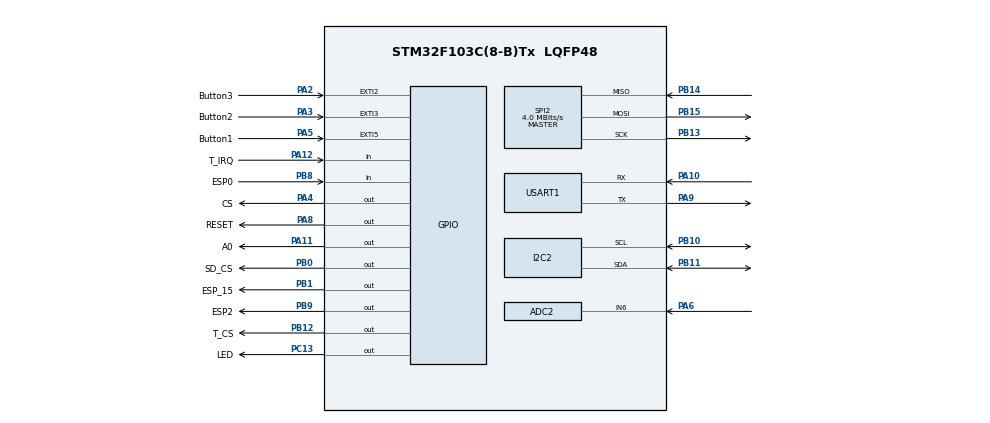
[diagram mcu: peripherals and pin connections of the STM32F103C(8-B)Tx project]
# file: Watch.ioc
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ADC2.Channel-0\#ChannelRegularConversion=ADC_CHANNEL_6
ADC2.NbrOfConversionFlag=1
ADC2.Rank-0\#ChannelRegularConversion=1
ADC2.SamplingTime-0\#ChannelRegularConversion=ADC_SAMPLETIME_1CYCLE_5
Mcu.Family=STM32F1
Mcu.Name=STM32F103C(8-B)Tx
Mcu.Package=LQFP48
NVIC.EXTI3_IRQn=true\:0\:0\:false\:false\:true\:true\:true\:true
NVIC.I2C2_ER_IRQn=true\:0\:0\:false\:false\:true\:true\:true\:true
NVIC.I2C2_EV_IRQn=true\:0\:0\:false\:false\:true\:true\:true\:true
NVIC.PriorityGroup=NVIC_PRIORITYGROUP_4
NVIC.TIM1_BRK_IRQn=true\:0\:0\:false\:false\:true\:true\:true\:true
NVIC.TIM1_CC_IRQn=true\:0\:0\:false\:false\:true\:true\:true\:true
NVIC.TIM1_TRG_COM_IRQn=true\:0\:0\:false\:false\:true\:true\:true\:true
NVIC.TIM1_UP_IRQn=true\:0\:0\:false\:false\:true\:true\:true\:true
NVIC.TIM2_IRQn=true\:0\:0\:false\:false\:true\:true\:true\:true
PA10.Mode=Asynchronous
PA10.Signal=USART1_RX
PA11.GPIO_Label=A0
PA11.Signal=GPIO_Output
PA12.GPIO_Label=T_IRQ
PA12.GPIO_PuPd=GPIO_NOPULL
PA12.Signal=GPIO_Input
PA13.Mode=Serial_Wire
PA13.Signal=SYS_JTMS-SWDIO
PA14.Mode=Serial_Wire
PA14.Signal=SYS_JTCK-SWCLK
PA2.GPIO_Label=Button3
PA2.Signal=GPXTI2
PA3.GPIO_Label=Button2
PA3.GPIO_ModeDefaultEXTI=GPIO_MODE_IT_FALLING
PA3.GPIO_PuPd=GPIO_PULLUP
PA3.Signal=GPXTI3
PA4.GPIO_Label=CS
PA4.Signal=GPIO_Output
PA5.GPIO_Label=Button1
PA5.GPIO_ModeDefaultEXTI=GPIO_MODE_IT_FALLING
PA5.GPIO_PuPd=GPIO_PULLUP
PA5.Signal=GPXTI5
PA6.Signal=ADCx_IN6
PA8.GPIO_Label=RESET
PA8.Signal=GPIO_Output
PA9.Mode=Asynchronous
PA9.Signal=USART1_TX
PB0.GPIO_Label=SD_CS
PB0.Signal=GPIO_Output
PB1.GPIO_Label=ESP_15
PB1.Signal=GPIO_Output
PB10.Mode=I2C
PB10.Signal=I2C2_SCL
PB11.Mode=I2C
PB11.Signal=I2C2_SDA
PB12.GPIO_Label=T_CS
PB12.Signal=GPIO_Output
PB13.Mode=Full_Duplex_Master
PB13.Signal=SPI2_SCK
PB14.Mode=Full_Duplex_Master
PB14.Signal=SPI2_MISO
PB15.Mode=Full_Duplex_Master
PB15.Signal=SPI2_MOSI
PB8.GPIO_Label=ESP0
PB8.Signal=GPIO_Input
PB9.GPIO_Label=ESP2
PB9.Signal=GPIO_Output
PC13-TAMPER-RTC.GPIO_Label=LED
PC13-TAMPER-RTC.Signal=GPIO_Output
ProjectManager.HeapSize=0x200
ProjectManager.StackSize=0x400
ProjectManager.TargetToolchain=STM32CubeIDE
RCC.APB1Freq_Value=8000000
RCC.APB2Freq_Value=8000000
RCC.HSE_VALUE=10000000
RCC.USBFreq_Value=8000000
RTC.Date=22
RTC.Month=RTC_MONTH_SEPTEMBER
RTC.WeekDay=RTC_WEEKDAY_FRIDAY
RTC.Year=23
SH.ADCx_IN6.0=ADC2_IN6,IN6
SPI2.CalculateBaudRate=4.0 MBits/s
SPI2.Direction=SPI_DIRECTION_2LINES
SPI2.Mode=SPI_MODE_MASTER
SPI2.VirtualType=VM_MASTER
TIM1.Period=100
TIM1.Prescaler=7999
TIM1.TIM_MasterOutputTrigger=TIM_TRGO_RESET
TIM2.Period=100
TIM2.Prescaler=7999
USART1.VirtualMode=VM_ASYNC
VP_RTC_VS_RTC_Activate.Mode=RTC_Enabled
VP_RTC_VS_RTC_Calendar.Mode=RTC_Calendar
VP_TIM1_VS_ClockSourceINT.Mode=Internal
VP_TIM2_VS_ClockSourceINT.Mode=Internal
board=custom

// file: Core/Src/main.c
/* USER CODE BEGIN Header */
/**
  ******************************************************************************
  * @file           : main.c
  * @brief          : Main program body
  ******************************************************************************
  * @attention
  *
  * Copyright (c) 2023 STMicroelectronics.
  * All rights reserved.
  *
  * This software is licensed under terms that can be found in the LICENSE file
  * in the root directory of this software component.
  * If no LICENSE file comes with this software, it is provided AS-IS.
  *
  ******************************************************************************
  */
/* USER CODE END Header */
#include "main.h"

/* USER CODE BEGIN Includes */
#include "st7735.h"
#include "display.h"
#include "fonts.h"
#include <stdio.h>
#include "touch.h"
#include "image.h"
#include <inttypes.h>
/* USER CODE END Includes */

/* USER CODE BEGIN PTD */

struct global gl;
int iteration = 0;
int last_beat = 0;
int delays[20];
int pressed_left = 0;
int pressed_right = 0;
int menu_context = 0;
int selected_item = 1;

char *get_week_day(int day) {
	enum WEEKDAY {SUNDAY, MONDAY, TUESDAY, WEDNESDAY, THURSDAY, FRIDAY, SATURDAY};

	switch(day) {
		case MONDAY:
			return "Mon";
			break;
		case TUESDAY:
			return "Tue";
			break;
		case WEDNESDAY:
			return "Wed";
			break;
		case THURSDAY:
			return "Thu";
			break;
		case FRIDAY:
			return "Fri";
			break;
		case SATURDAY:
			return "Sat";
			break;
		case SUNDAY:
			return "Sun";
			break;
		default:
			return "Non";
			break;
	}
}

void init_globals() {
	  gl.leg_start_x = ILI9341_WIDTH / 2;
	  gl.leg_start_y = ILI9341_HEIGHT / 2 + 30;
	  gl.leg_width = 5;
	  gl.leg_length = 10;
	  gl.body_length = 10;
	  gl.hand_width = 5;
	  gl.hand_length = 10;
	  gl.neck_length = 5;
	  gl.head_radius = 7;
	  gl.hat_height   = 5;
	  gl.hat_width   = 7;
	  gl.skateboard_len = 30;
	  gl.skateboard_height = 5;
	  gl.skateboard_offset = 5;
	  gl.wheel_radius = 5;
	  gl.sword_width_distance_top = 4;
	  gl.sword_height_distance_top = 12;
	  gl.sword_width_distance_bottom = 5;
	  gl.sword_height_distance_bottom = 5;
	  gl.sword_line_width = 7;
	  gl.sword_line_height = 20;
	  gl.left_triangle_x = 10;
	  gl.left_triangle_y = 40;
	  gl.right_triangle_x = 50;
	  gl.right_triangle_y = 40;
	  gl.top_triangle_x = 30;
	  gl.top_triangle_y = 20;
	  gl.bottom_triangle_x = 30;
	  gl.bottom_triangle_y = 50;
	  gl.theme_color = ILI9341_BLACK;
	  gl.item_color = ILI9341_WHITE;
	  gl.sword_color = ILI9341_RED;
	  gl.start_plane_x = 20;
	  gl.start_plane_y = 30;
}
/*
void max30102_plot(uint32_t ir_sample, uint32_t red_sample)
{
	char ir_sample_char[6];
	char red_sample_char[6];
	char it_char[6];
	int delay = HAL_GetTick() - last_beat;
	delays[iteration] = delay;
	last_beat = HAL_GetTick();
	sprintf(ir_sample_char, "ir : %d", ir_sample);
	sprintf(red_sample_char, "rd : %d", red_sample);
	sprintf(it_char, "it : %02d", iteration);
	ILI9341_WriteString(0, 10, ir_sample_char, Font_11x18, ILI9341_WHITE, ILI9341_BLACK);
	ILI9341_WriteString(0, 30, red_sample_char, Font_11x18, ILI9341_WHITE, ILI9341_BLACK);
	ILI9341_WriteString(0, 50, it_char, Font_11x18, ILI9341_WHITE, ILI9341_BLACK);
	iteration++;
}
*/
/* USER CODE END PTD */

ADC_HandleTypeDef hadc2;

I2C_HandleTypeDef hi2c2;

RTC_HandleTypeDef hrtc;

SPI_HandleTypeDef hspi2;

TIM_HandleTypeDef htim1;
TIM_HandleTypeDef htim2;

UART_HandleTypeDef huart1;

void SystemClock_Config(void);
static void MX_GPIO_Init(void);
static void MX_RTC_Init(void);
static void MX_TIM2_Init(void);
static void MX_TIM1_Init(void);
static void MX_SPI2_Init(void);
static void MX_I2C2_Init(void);
static void MX_USART1_UART_Init(void);
static void MX_ADC2_Init(void);

/* USER CODE BEGIN 0 */
char time[30] = {0};
char date[30] = {0};

void HAL_TIM_PeriodElapsedCallback(TIM_HandleTypeDef *htim)
{
	char *dat;
	RTC_TimeTypeDef sTime = {0};
	RTC_DateTypeDef sDate = {0};
	enum WEEKDAY {MONDAY = 1, TUESDAY, WEDNESDAY, THURSDAY, FRIDAY, SATURDAY, SUNDAY};

	if (htim->Instance == TIM2) {
		HAL_RTC_GetTime(&hrtc, &sTime, RTC_FORMAT_BIN);
		HAL_RTC_GetDate(&hrtc, &sDate, RTC_FORMAT_BIN);
		dat = get_week_day(sDate.WeekDay);
		sprintf(date, "%s %02d/%02d/%02d", dat, sDate.Date, sDate.Month, sDate.Year);
		sprintf(time, "%02d:%02d:%02d", sTime.Hours, sTime.Minutes, sTime.Seconds);
		display_date_and_time();
	} else if (htim->Instance == TIM1) {
		display_battery_status(menu_context);
	}
}

void init() {
    ILI9341_Unselect();
    ILI9341_Init();
}

/* USER CODE END 0 */

int main(void)
{
  /* USER CODE BEGIN 1 */
  init_globals();
  /* USER CODE END 1 */

  /* MCU Configuration--------------------------------------------------------*/

  /* Reset of all peripherals, Initializes the Flash interface and the Systick. */
  HAL_Init();

  /* Configure the system clock */
  SystemClock_Config();

  /* Initialize all configured peripherals */
  MX_GPIO_Init();
  MX_RTC_Init();
  MX_TIM2_Init();
  MX_TIM1_Init();
  MX_SPI2_Init();
  MX_I2C2_Init();
  MX_USART1_UART_Init();
  MX_ADC2_Init();
  /* USER CODE BEGIN 2 */
  init();
  display_start_page();
  display_ateist_man();
//  display_ground(gl.item_color, 1);
//  display_sword(gl.item_color, gl.sword_color, 1);
//  display_move_plane();
//  display_star(gl.item_color, 1);
  HAL_TIM_Base_Start_IT(&htim2);
  HAL_TIM_Base_Start_IT(&htim1);

//  HAL_GPIO_WritePin(ESP_15_GPIO_Port, ESP_15_Pin, 0);
//  HAL_GPIO_WritePin(ESP2_GPIO_Port, ESP2_Pin, 0);
//  HAL_GPIO_WritePin(ESP0_GPIO_Port, ESP0_Pin, 0);
//  HAL_Delay(1000);
//  HAL_GPIO_WritePin(ESP0_GPIO_Port, ESP0_Pin, 1);

  /* USER CODE END 2 */

  /* Infinite loop */
  /* USER CODE BEGIN WHILE */
  while (1)
  {
	  HAL_GPIO_WritePin(GPIOC, GPIO_PIN_13, 1);
	  HAL_Delay(1000);
	  HAL_GPIO_WritePin(GPIOC, GPIO_PIN_13, 0);
	  HAL_Delay(1000);
//	  HAL_UART_Transmit(&huart1, (uint8_t *)msg, strlen(msg), 1);
//	  HAL_UART_Receive(&huart1, (uint8_t *)msg2, 2, 1);
//	  ILI9341_WriteString(20, 20, msg2, Font_11x18, ILI9341_WHITE, ILI9341_BLACK);
    /* USER CODE END WHILE */

  }
}

void SystemClock_Config(void)
{
  RCC_OscInitTypeDef RCC_OscInitStruct = {0};
  RCC_ClkInitTypeDef RCC_ClkInitStruct = {0};
  RCC_PeriphCLKInitTypeDef PeriphClkInit = {0};

  /** Initializes the RCC Oscillators according to the specified parameters
  * in the RCC_OscInitTypeDef structure.
  */
  RCC_OscInitStruct.OscillatorType = RCC_OSCILLATORTYPE_HSI|RCC_OSCILLATORTYPE_LSI;
  RCC_OscInitStruct.HSIState = RCC_HSI_ON;
  RCC_OscInitStruct.HSICalibrationValue = RCC_HSICALIBRATION_DEFAULT;
  RCC_OscInitStruct.LSIState = RCC_LSI_ON;
  RCC_OscInitStruct.PLL.PLLState = RCC_PLL_NONE;
  if (HAL_RCC_OscConfig(&RCC_OscInitStruct) != HAL_OK)
  {
    Error_Handler();
  }

  /** Initializes the CPU, AHB and APB buses clocks
  */
  RCC_ClkInitStruct.ClockType = RCC_CLOCKTYPE_HCLK|RCC_CLOCKTYPE_SYSCLK
                              |RCC_CLOCKTYPE_PCLK1|RCC_CLOCKTYPE_PCLK2;
  RCC_ClkInitStruct.SYSCLKSource = RCC_SYSCLKSOURCE_HSI;
  RCC_ClkInitStruct.AHBCLKDivider = RCC_SYSCLK_DIV1;
  RCC_ClkInitStruct.APB1CLKDivider = RCC_HCLK_DIV1;
  RCC_ClkInitStruct.APB2CLKDivider = RCC_HCLK_DIV1;

  if (HAL_RCC_ClockConfig(&RCC_ClkInitStruct, FLASH_LATENCY_0) != HAL_OK)
  {
    Error_Handler();
  }
  PeriphClkInit.PeriphClockSelection = RCC_PERIPHCLK_RTC|RCC_PERIPHCLK_ADC;
  PeriphClkInit.RTCClockSelection = RCC_RTCCLKSOURCE_LSI;
  PeriphClkInit.AdcClockSelection = RCC_ADCPCLK2_DIV2;
  if (HAL_RCCEx_PeriphCLKConfig(&PeriphClkInit) != HAL_OK)
  {
    Error_Handler();
  }
}

static void MX_ADC2_Init(void)
{

  ADC_ChannelConfTypeDef sConfig = {0};

  /** Common config
  */
  hadc2.Instance = ADC2;
  hadc2.Init.ScanConvMode = ADC_SCAN_DISABLE;
  hadc2.Init.ContinuousConvMode = DISABLE;
  hadc2.Init.DiscontinuousConvMode = DISABLE;
  hadc2.Init.ExternalTrigConv = ADC_SOFTWARE_START;
  hadc2.Init.DataAlign = ADC_DATAALIGN_RIGHT;
  hadc2.Init.NbrOfConversion = 1;
  if (HAL_ADC_Init(&hadc2) != HAL_OK)
  {
    Error_Handler();
  }

  /** Configure Regular Channel
  */
  sConfig.Channel = ADC_CHANNEL_6;
  sConfig.Rank = ADC_REGULAR_RANK_1;
  sConfig.SamplingTime = ADC_SAMPLETIME_1CYCLE_5;
  if (HAL_ADC_ConfigChannel(&hadc2, &sConfig) != HAL_OK)
  {
    Error_Handler();
  }

}

static void MX_I2C2_Init(void)
{

  hi2c2.Instance = I2C2;
  hi2c2.Init.ClockSpeed = 100000;
  hi2c2.Init.DutyCycle = I2C_DUTYCYCLE_2;
  hi2c2.Init.OwnAddress1 = 0;
  hi2c2.Init.AddressingMode = I2C_ADDRESSINGMODE_7BIT;
  hi2c2.Init.DualAddressMode = I2C_DUALADDRESS_DISABLE;
  hi2c2.Init.OwnAddress2 = 0;
  hi2c2.Init.GeneralCallMode = I2C_GENERALCALL_DISABLE;
  hi2c2.Init.NoStretchMode = I2C_NOSTRETCH_DISABLE;
  if (HAL_I2C_Init(&hi2c2) != HAL_OK)
  {
    Error_Handler();
  }

}

static void MX_RTC_Init(void)
{

  RTC_TimeTypeDef sTime = {0};
  RTC_DateTypeDef DateToUpdate = {0};

  /** Initialize RTC Only
  */
  hrtc.Instance = RTC;
  hrtc.Init.AsynchPrediv = RTC_AUTO_1_SECOND;
  hrtc.Init.OutPut = RTC_OUTPUTSOURCE_ALARM;
  if (HAL_RTC_Init(&hrtc) != HAL_OK)
  {
    Error_Handler();
  }

  /** Initialize RTC and set the Time and Date
  */
  sTime.Hours = 0x0;
  sTime.Minutes = 0x0;
  sTime.Seconds = 0x0;

  if (HAL_RTC_SetTime(&hrtc, &sTime, RTC_FORMAT_BCD) != HAL_OK)
  {
    Error_Handler();
  }
  DateToUpdate.WeekDay = RTC_WEEKDAY_FRIDAY;
  DateToUpdate.Month = RTC_MONTH_SEPTEMBER;
  DateToUpdate.Date = 0x22;
  DateToUpdate.Year = 0x23;

  if (HAL_RTC_SetDate(&hrtc, &DateToUpdate, RTC_FORMAT_BCD) != HAL_OK)
  {
    Error_Handler();
  }

}

static void MX_SPI2_Init(void)
{

  /* SPI2 parameter configuration*/
  hspi2.Instance = SPI2;
  hspi2.Init.Mode = SPI_MODE_MASTER;
  hspi2.Init.Direction = SPI_DIRECTION_2LINES;
  hspi2.Init.DataSize = SPI_DATASIZE_8BIT;
  hspi2.Init.CLKPolarity = SPI_POLARITY_LOW;
  hspi2.Init.CLKPhase = SPI_PHASE_1EDGE;
  hspi2.Init.NSS = SPI_NSS_SOFT;
  hspi2.Init.BaudRatePrescaler = SPI_BAUDRATEPRESCALER_2;
  hspi2.Init.FirstBit = SPI_FIRSTBIT_MSB;
  hspi2.Init.TIMode = SPI_TIMODE_DISABLE;
  hspi2.Init.CRCCalculation = SPI_CRCCALCULATION_DISABLE;
  hspi2.Init.CRCPolynomial = 10;
  if (HAL_SPI_Init(&hspi2) != HAL_OK)
  {
    Error_Handler();
  }

}

static void MX_TIM1_Init(void)
{

  TIM_ClockConfigTypeDef sClockSourceConfig = {0};
  TIM_MasterConfigTypeDef sMasterConfig = {0};

  htim1.Instance = TIM1;
  htim1.Init.Prescaler = 7999;
  htim1.Init.CounterMode = TIM_COUNTERMODE_UP;
  htim1.Init.Period = 100;
  htim1.Init.ClockDivision = TIM_CLOCKDIVISION_DIV1;
  htim1.Init.RepetitionCounter = 0;
  htim1.Init.AutoReloadPreload = TIM_AUTORELOAD_PRELOAD_DISABLE;
  if (HAL_TIM_Base_Init(&htim1) != HAL_OK)
  {
    Error_Handler();
  }
  sClockSourceConfig.ClockSource = TIM_CLOCKSOURCE_INTERNAL;
  if (HAL_TIM_ConfigClockSource(&htim1, &sClockSourceConfig) != HAL_OK)
  {
    Error_Handler();
  }
  sMasterConfig.MasterOutputTrigger = TIM_TRGO_RESET;
  sMasterConfig.MasterSlaveMode = TIM_MASTERSLAVEMODE_DISABLE;
  if (HAL_TIMEx_MasterConfigSynchronization(&htim1, &sMasterConfig) != HAL_OK)
  {
    Error_Handler();
  }

}

static void MX_TIM2_Init(void)
{

  TIM_ClockConfigTypeDef sClockSourceConfig = {0};
  TIM_MasterConfigTypeDef sMasterConfig = {0};

  htim2.Instance = TIM2;
  htim2.Init.Prescaler = 7999;
  htim2.Init.CounterMode = TIM_COUNTERMODE_UP;
  htim2.Init.Period = 100;
  htim2.Init.ClockDivision = TIM_CLOCKDIVISION_DIV1;
  htim2.Init.AutoReloadPreload = TIM_AUTORELOAD_PRELOAD_DISABLE;
  if (HAL_TIM_Base_Init(&htim2) != HAL_OK)
  {
    Error_Handler();
  }
  sClockSourceConfig.ClockSource = TIM_CLOCKSOURCE_INTERNAL;
  if (HAL_TIM_ConfigClockSource(&htim2, &sClockSourceConfig) != HAL_OK)
  {
    Error_Handler();
  }
  sMasterConfig.MasterOutputTrigger = TIM_TRGO_RESET;
  sMasterConfig.MasterSlaveMode = TIM_MASTERSLAVEMODE_DISABLE;
  if (HAL_TIMEx_MasterConfigSynchronization(&htim2, &sMasterConfig) != HAL_OK)
  {
    Error_Handler();
  }

}

static void MX_USART1_UART_Init(void)
{

  huart1.Instance = USART1;
  huart1.Init.BaudRate = 115200;
  huart1.Init.WordLength = UART_WORDLENGTH_8B;
  huart1.Init.StopBits = UART_STOPBITS_1;
  huart1.Init.Parity = UART_PARITY_NONE;
  huart1.Init.Mode = UART_MODE_TX_RX;
  huart1.Init.HwFlowCtl = UART_HWCONTROL_NONE;
  huart1.Init.OverSampling = UART_OVERSAMPLING_16;
  if (HAL_UART_Init(&huart1) != HAL_OK)
  {
    Error_Handler();
  }

}

static void MX_GPIO_Init(void)
{
  GPIO_InitTypeDef GPIO_InitStruct = {0};

  /* GPIO Ports Clock Enable */
  __HAL_RCC_GPIOC_CLK_ENABLE();
  __HAL_RCC_GPIOA_CLK_ENABLE();
  __HAL_RCC_GPIOB_CLK_ENABLE();

  /*Configure GPIO pin Output Level */
  HAL_GPIO_WritePin(LED_GPIO_Port, LED_Pin, GPIO_PIN_RESET);

  /*Configure GPIO pin Output Level */
  HAL_GPIO_WritePin(GPIOA, CS_Pin|RESET_Pin|A0_Pin, GPIO_PIN_RESET);

  /*Configure GPIO pin Output Level */
  HAL_GPIO_WritePin(GPIOB, SD_CS_Pin|ESP_15_Pin|T_CS_Pin|ESP2_Pin, GPIO_PIN_RESET);

  /*Configure GPIO pin : LED_Pin */
  GPIO_InitStruct.Pin = LED_Pin;
  GPIO_InitStruct.Mode = GPIO_MODE_OUTPUT_PP;
  GPIO_InitStruct.Pull = GPIO_NOPULL;
  GPIO_InitStruct.Speed = GPIO_SPEED_FREQ_LOW;
  HAL_GPIO_Init(LED_GPIO_Port, &GPIO_InitStruct);

  /*Configure GPIO pin : Button3_Pin */
  GPIO_InitStruct.Pin = Button3_Pin;
  GPIO_InitStruct.Mode = GPIO_MODE_IT_RISING;
  GPIO_InitStruct.Pull = GPIO_NOPULL;
  HAL_GPIO_Init(Button3_GPIO_Port, &GPIO_InitStruct);

  /*Configure GPIO pins : Button2_Pin Button1_Pin */
  GPIO_InitStruct.Pin = Button2_Pin|Button1_Pin;
  GPIO_InitStruct.Mode = GPIO_MODE_IT_FALLING;
  GPIO_InitStruct.Pull = GPIO_PULLUP;
  HAL_GPIO_Init(GPIOA, &GPIO_InitStruct);

  /*Configure GPIO pins : CS_Pin RESET_Pin A0_Pin */
  GPIO_InitStruct.Pin = CS_Pin|RESET_Pin|A0_Pin;
  GPIO_InitStruct.Mode = GPIO_MODE_OUTPUT_PP;
  GPIO_InitStruct.Pull = GPIO_NOPULL;
  GPIO_InitStruct.Speed = GPIO_SPEED_FREQ_LOW;
  HAL_GPIO_Init(GPIOA, &GPIO_InitStruct);

  /*Configure GPIO pins : SD_CS_Pin ESP_15_Pin T_CS_Pin ESP2_Pin */
  GPIO_InitStruct.Pin = SD_CS_Pin|ESP_15_Pin|T_CS_Pin|ESP2_Pin;
  GPIO_InitStruct.Mode = GPIO_MODE_OUTPUT_PP;
  GPIO_InitStruct.Pull = GPIO_NOPULL;
  GPIO_InitStruct.Speed = GPIO_SPEED_FREQ_LOW;
  HAL_GPIO_Init(GPIOB, &GPIO_InitStruct);

  /*Configure GPIO pin : T_IRQ_Pin */
  GPIO_InitStruct.Pin = T_IRQ_Pin;
  GPIO_InitStruct.Mode = GPIO_MODE_INPUT;
  GPIO_InitStruct.Pull = GPIO_NOPULL;
  HAL_GPIO_Init(T_IRQ_GPIO_Port, &GPIO_InitStruct);

  /*Configure GPIO pin : ESP0_Pin */
  GPIO_InitStruct.Pin = ESP0_Pin;
  GPIO_InitStruct.Mode = GPIO_MODE_INPUT;
  GPIO_InitStruct.Pull = GPIO_NOPULL;
  HAL_GPIO_Init(ESP0_GPIO_Port, &GPIO_InitStruct);

  /* EXTI interrupt init*/
  HAL_NVIC_SetPriority(EXTI3_IRQn, 0, 0);
  HAL_NVIC_EnableIRQ(EXTI3_IRQn);

}

/* USER CODE BEGIN 4 */
void HAL_GPIO_EXTI_Callback(uint16_t GPIO_Pin)
{
	uint16_t selected_pin = GPIO_Pin;
	uint16_t right = GPIO_PIN_5;
	uint16_t left = GPIO_PIN_3;
	int menu_pressed_counter = 0;

	if(selected_pin == right && !pressed_right && !menu_context) { 	//Pressed RIGHT
		HAL_TIM_Base_Stop_IT(&htim2);
		display_menu();
		menu_context = 1;
		return;
	} else if(selected_pin == left && !pressed_left && menu_context) { //Pressed LEFT
		HAL_TIM_Base_Start_IT(&htim2);
		display_start_page();
		menu_context = 0;
		return;
	}

	pressed_right = !pressed_right;
	pressed_left = !pressed_left;

	if (menu_context && !pressed_right) {
		if (selected_pin == right) {
			if (selected_item == 1) {
				display_bar(ITEMS_NUMBER, ILI9341_BLACK, ILI9341_BLACK);
				display_bar(selected_item, ILI9341_WHITE, ILI9341_RED);
			}
			else {
				display_bar(selected_item - 1, ILI9341_BLACK, ILI9341_BLACK);
				display_bar(selected_item, ILI9341_WHITE, ILI9341_RED);
			}
			selected_item = selected_item < ITEMS_NUMBER ? selected_item + 1 : 1;
		}
	}
}
/* USER CODE END 4 */

void Error_Handler(void)
{
  __disable_irq();
  while (1)
  {
  }
}
